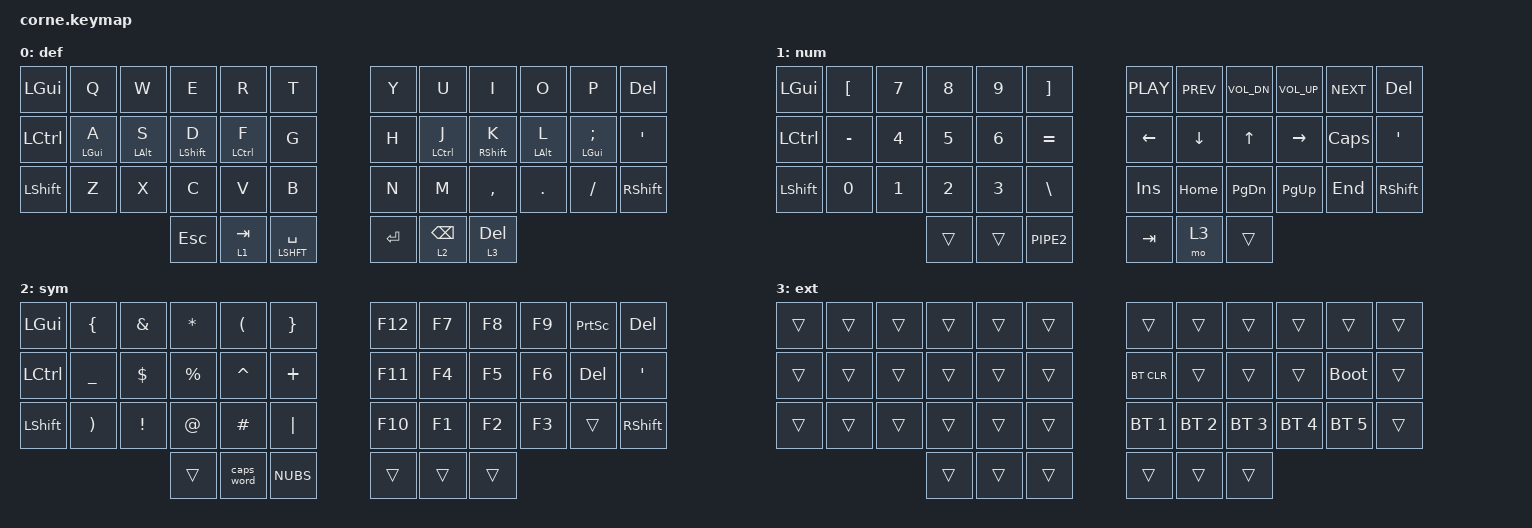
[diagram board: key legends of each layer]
#include <behaviors.dtsi>
#include <dt-bindings/zmk/keys.h>
#include <dt-bindings/zmk/bt.h>
#include <dt-bindings/zmk/outputs.h>
#include "zmk-helpers/helper.h"
#include "zmk-helpers/key-labels/42.h"

#define DEF 0
#define NUM 1
#define SYM 2
#define EXT 3
#define GAME 4


/* left-hand HRMs */
ZMK_HOLD_TAP(hml,
    flavor = "balanced";
    tapping-term-ms = <250>;
    quick-tap-ms = <175>;
    require-prior-idle-ms = <80>;
    bindings = <&kp>, <&kp>;
    hold-trigger-on-release;
)

ZMK_HOLD_TAP(hmr,
    flavor = "balanced";
    tapping-term-ms = <250>;
    quick-tap-ms = <175>;
    require-prior-idle-ms = <80>;
    bindings = <&kp>, <&kp>;
    hold-trigger-on-release;
)

ZMK_BEHAVIOR(lt_tab, hold_tap,
    flavor = "balanced";
    tapping-term-ms = <120>;
    quick-tap-ms = <150>;
    require-prior-idle-ms = <80>;
    bindings = <&mo>, <&kp>;
    hold-trigger-on-release;
)

ZMK_BEHAVIOR(lt_back, hold_tap,
    flavor = "balanced";
    tapping-term-ms = <120>;
    quick-tap-ms = <150>;
    require-prior-idle-ms = <80>;
    bindings = <&mo>, <&kp>;
    hold-trigger-on-release;
)

ZMK_BEHAVIOR(lt_shift, hold_tap,
    flavor = "balanced";
    tapping-term-ms = <120>;
    quick-tap-ms = <150>;
    require-prior-idle-ms = <80>;
    bindings = <&kp>, <&kp>;
    hold-trigger-on-release;
)

ZMK_BEHAVIOR(lt_del, hold_tap,
    flavor = "balanced";
    tapping-term-ms = <120>;
    quick-tap-ms = <150>;
    require-prior-idle-ms = <80>;
    bindings = <&mo>, <&kp>;
    hold-trigger-on-release;
)

ZMK_COMBO(caps, &kp CAPSLOCK, LM2 RM2)

ZMK_CONDITIONAL_LAYER(ext, 1 2, 3)

ZMK_LAYER(def,
		&kp LGUI	  &kp Q           &kp W       &kp E        &kp R          &kp T           &kp Y       &kp U            &kp I         &kp O       &kp P           &kp DEL
		&kp LCTRL	  &hml LGUI A     &hml LALT S &hml LSHFT D &hml LCTRL F   &kp G           &kp H       &hmr LCTRL J     &hmr RSHFT K  &hmr LALT L &hmr LGUI SEMI  &kp APOS
    &kp LSHFT   &kp Z           &kp X       &kp C        &kp V          &kp B           &kp N       &kp M            &kp COMMA     &kp DOT     &kp FSLH        &kp RSHFT
      				  			                      &kp ESC      &lt_tab 1 TAB  &lt_shift LSHFT SPACE &kp RET     &lt_back 2 BSPC  &lt_del 3 DEL
)

ZMK_LAYER(num,  
    &kp LGUI	  &kp LBKT        &kp N7      &kp N8     &kp N9           &kp RBKT       &kp C_PLAY  &kp C_PREV       &kp C_VOL_DN  &kp C_VOL_UP &kp C_NEXT     &kp DEL
    &kp LCTRL	  &kp MINUS       &kp N4      &kp N5     &kp N6           &kp EQUAL      &kp LEFT    &kp DOWN         &kp UP        &kp RIGHT   &kp CAPSLOCK        &kp APOS
    &kp LSHFT   &kp N0          &kp N1      &kp N2     &kp N3           &kp BSLH       &kp INS     &kp HOME         &kp PG_DN     &kp PG_UP   &kp END         &kp RSHFT
                                            &trans     &trans           &kp PIPE2      &kp TAB     &mo 3            &trans
)

ZMK_LAYER(sym,
    &kp LGUI	  &kp LBRC        &kp AMPS    &kp ASTRK  &kp LPAR         &kp RBRC       &kp F12     &kp F7           &kp F8        &kp F9      &kp PSCRN       &kp DEL
    &kp LCTRL	  &kp UNDERSCORE  &kp DLLR    &kp PRCNT  &kp CARET        &kp PLUS       &kp F11     &kp F4           &kp F5        &kp F6      &kp DEL         &kp APOS
    &kp LSHFT   &kp RPAR        &kp EXCL    &kp AT     &kp HASH         &kp PIPE       &kp F10     &kp F1           &kp F2        &kp F3      &trans          &kp RSHFT
                                            &trans     &caps_word       &kp NUBS       &trans      &trans           &trans          
)

ZMK_LAYER(ext,
    &trans      &trans          &trans      &trans     &trans           &trans         &trans       &trans          &trans        &trans    &trans          &trans
    &trans      &trans          &trans      &trans     &trans           &trans         &bt BT_CLR   &trans          &trans        &trans    &bootloader     &trans
    &trans      &trans          &trans      &trans     &trans           &trans         &bt BT_SEL 1 &bt BT_SEL 2    &bt BT_SEL 3  &bt BT_SEL 4  &bt BT_SEL 5 &trans
                                            &trans     &trans           &trans         &trans       &trans          &trans
)
